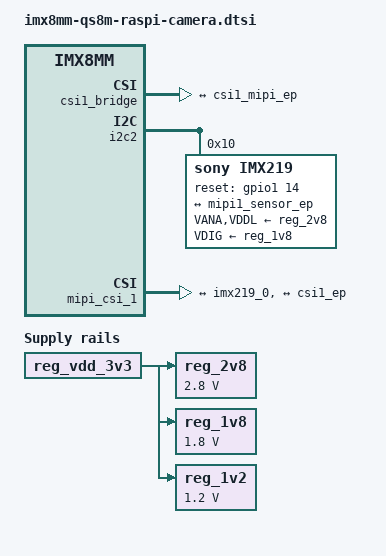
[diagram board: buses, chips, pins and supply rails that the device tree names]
// SPDX-License-Identifier: (GPL-2.0 OR MIT)
/*
 * Copyright (C) 2020 Markus Bauer <MB@KARO-electronics.de>
 *
 */

/ {
	reg_2v8: regulator-2v8 {
		compatible = "regulator-fixed";
		regulator-name = "2V8";
		regulator-min-microvolt = <2800000>;
		regulator-max-microvolt = <2800000>;
		regulator-always-on;
		vin-supply = <&reg_vdd_3v3>;
	};

	reg_1v8: regulator-1v8 {
		compatible = "regulator-fixed";
		regulator-name = "1V8";
		regulator-min-microvolt = <1800000>;
		regulator-max-microvolt = <1800000>;
		regulator-always-on;
		vin-supply = <&reg_vdd_3v3>;
	};

	reg_1v2: regulator-1v2 {
		compatible = "regulator-fixed";
		regulator-name = "1V2";
		regulator-min-microvolt = <1200000>;
		regulator-max-microvolt = <1200000>;
		regulator-always-on;
		vin-supply = <&reg_vdd_3v3>;
	};

	imx219_clk: imx219-clk {
		compatible = "fixed-clock";
		#clock-cells = <0>;
		clock-frequency = <24000000>;
	};
};

&csi1_bridge {
	fsl,mipi-mode;
	status = "okay";

	port {
		csi1_ep: endpoint {
			remote-endpoint = <&csi1_mipi_ep>;
		};
	};
};

&i2c2 {
	imx219: sensor@10 {
		compatible = "sony,imx219";
		reg = <0x10>;
		pinctrl-names = "default";
		pinctrl-0 = <&pinctrl_imx219_reset>;
		reset-gpios = <&gpio1 14 GPIO_ACTIVE_HIGH>;
		clocks = <&imx219_clk>;
		VANA-supply = <&reg_2v8>;   /* 2.8v */
		VDIG-supply = <&reg_1v8>;   /* 1.8v */
		VDDL-supply = <&reg_2v8>;   /* 1.2v */
		status = "okay";

		port {
			imx219_0: endpoint {
				remote-endpoint = <&mipi1_sensor_ep>;
				data-lanes = <1 2>;
				clock-noncontinuous;
				link-frequencies = /bits/ 64 <456000000>;
			};
		};
	};
};

&mipi_csi_1 {
	status = "okay";

	port {
		#address-cells = <1>;
		#size-cells = <0>;

		mipi1_sensor_ep: endpoint@1 {
			reg = <1>;
			remote-endpoint = <&imx219_0>;
			data-lanes = <2>;
			csis-hs-settle = <13>;
			csis-clk-settle = <2>;
			csis-wclk;
		};

		csi1_mipi_ep: endpoint@2 {
			reg = <2>;
			remote-endpoint = <&csi1_ep>;
		};
	};
};

&iomuxc {
	pinctrl_imx219_reset: imx219-resetgrp {
		fsl,pins = <
			MX8MM_IOMUXC_GPIO1_IO14_GPIO1_IO14		0x06
		>;
	};
};
